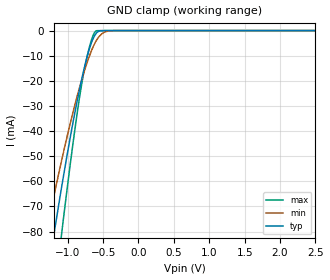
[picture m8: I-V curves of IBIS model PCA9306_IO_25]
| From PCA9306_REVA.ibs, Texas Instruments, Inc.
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[Model]   PCA9306_IO_25
Model_type  Terminator
| variable   typ   min   max
C_comp   2.66pF   2.29pF   3.20pF
| C_tri-state   2.66pF   2.29pF   3.20pF
[Temperature Range]   40   100   -40
| Ambient temperature   25   85   -40
[Voltage range]   2.5   2.3   2.7
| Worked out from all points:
|   GND clamp passes 1 mA (typ) near -0.59 V on its own axis
[GND Clamp]
| PCA9306_IO_25
|   Voltage   I(typ)   I(min)   I(max)
-2.5V     -349.7mA   -272.4mA   -467.7mA
-1.315V   -103.2mA   -82.31mA   -137.3mA
-1.285V   -97.6mA    -78.12mA   -129.7mA
-1.2V     -82.18mA   -66.55mA   -108.4mA
-1.1V     -64.75mA   -53.5mA    -84.26mA
-1.075V   -60.52mA   -50.35mA   -78.37mA
-920mV    -35.84mA   -31.97mA   -43.85mA
-790mV    -17.89mA   -18.51mA   -19.31mA
-680mV    -6.109mA   -9.157mA   -5.225mA
-600mV    -1.21mA    -4.203mA   -179.9uA
-375mV    -1uA       -57.23uA   -10.78nA
2.5V      27.81pA    2.894nA    11.56pA
